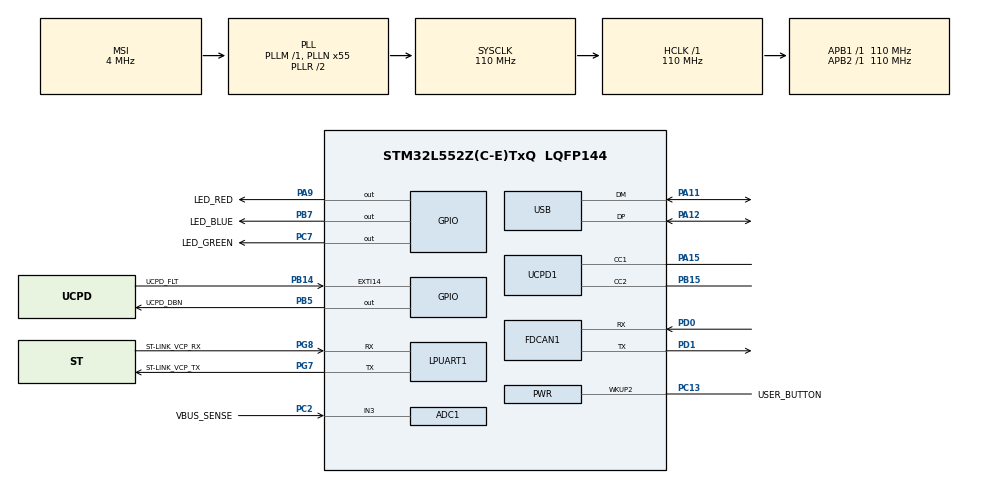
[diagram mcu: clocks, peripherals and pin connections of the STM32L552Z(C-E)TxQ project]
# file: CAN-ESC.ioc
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ADC1.Channel-0\#ChannelRegularConversion=ADC_CHANNEL_3
ADC1.NbrOfConversionFlag=1
ADC1.OffsetNumber-0\#ChannelRegularConversion=ADC_OFFSET_NONE
ADC1.Rank-0\#ChannelRegularConversion=1
ADC1.SamplingTime-0\#ChannelRegularConversion=ADC_SAMPLETIME_2CYCLES_5
ADC1.master=1
FDCAN1.CalculateBaudRateNominal=10000
FDCAN1.CalculateTimeBitNominal=100000
FDCAN1.CalculateTimeQuantumNominal=20000.0
FDCAN1.ClockDivider=FDCAN_CLOCK_DIV22
FDCAN1.DataTimeSeg1=1
FDCAN1.DataTimeSeg2=1
FDCAN1.ExtFiltersNbr=1
FDCAN1.NominalPrescaler=100
FDCAN1.NominalTimeSeg1=2
FDCAN1.NominalTimeSeg2=2
Mcu.Family=STM32L5
Mcu.Name=STM32L552Z(C-E)TxQ
Mcu.Package=LQFP144
Mcu.TrustZone=disable
NVIC.FDCAN1_IT0_IRQn=true\:0\:0\:false\:false\:true\:true\:true\:true
NVIC.PriorityGroup=NVIC_PRIORITYGROUP_3
PA11.Mode=Device
PA11.Signal=USB_DM
PA12.Mode=Device
PA12.Signal=USB_DP
PA13\ (JTMS/SWDIO).Mode=Trace_Asynchronous_SW
PA13\ (JTMS/SWDIO).Signal=DEBUG_JTMS-SWDIO
PA14\ (JTCK/SWCLK).Mode=Trace_Asynchronous_SW
PA14\ (JTCK/SWCLK).Signal=DEBUG_JTCK-SWCLK
PA15\ (JTDI).Mode=Source_AllSignals
PA15\ (JTDI).Signal=UCPD1_CC1
PA9.GPIO_Label=LED_RED
PA9.Signal=GPIO_Output
PB14.GPIO_Label=UCPD_FLT
PB14.Signal=GPXTI14
PB15.Mode=Source_AllSignals
PB15.Signal=UCPD1_CC2
PB3\ (JTDO/TRACESWO).Mode=Trace_Asynchronous_SW
PB3\ (JTDO/TRACESWO).Signal=DEBUG_JTDO-SWO
PB5.GPIO_Label=UCPD_DBN
PB5.Signal=GPIO_Output
PB7.GPIO_Label=LED_BLUE
PB7.Signal=GPIO_Output
PC13.GPIO_Label=USER_BUTTON
PC13.Mode=WakeUp1
PC13.Signal=PWR_WKUP2
PC14-OSC32_IN\ (PC14).Mode=LSE-External-Oscillator
PC14-OSC32_IN\ (PC14).Signal=RCC_OSC32_IN
PC15-OSC32_OUT\ (PC15).Mode=LSE-External-Oscillator
PC15-OSC32_OUT\ (PC15).Signal=RCC_OSC32_OUT
PC2.GPIO_Label=VBUS_SENSE
PC2.Signal=ADCx_IN3
PC7.GPIO_Label=LED_GREEN
PC7.Signal=GPIO_Output
PD0.Mode=FDCAN_Activate
PD0.Signal=FDCAN1_RX
PD1.Mode=FDCAN_Activate
PD1.Signal=FDCAN1_TX
PG7.GPIO_Label=ST-LINK_VCP_TX
PG7.Mode=Asynchronous
PG7.Signal=LPUART1_TX
PG8.GPIO_Label=ST-LINK_VCP_RX
PG8.Mode=Asynchronous
PG8.Signal=LPUART1_RX
ProjectManager.HeapSize=0x200
ProjectManager.StackSize=0x400
ProjectManager.TargetToolchain=STM32CubeIDE
RCC.ADCCLockSelection=RCC_ADCCLKSOURCE_SYSCLK
RCC.ADCFreq_Value=110000000
RCC.AHBFreq_Value=110000000
RCC.APB1Freq_Value=110000000
RCC.APB1TimFreq_Value=110000000
RCC.APB2Freq_Value=110000000
RCC.APB2TimFreq_Value=110000000
RCC.CK48CLockSelection=RCC_USBCLKSOURCE_HSI48
RCC.CortexFreq_Value=110000000
RCC.HCLKFreq_Value=110000000
RCC.HSE_VALUE=8000000
RCC.HSI48_VALUE=48000000
RCC.HSI_VALUE=16000000
RCC.MSI_VALUE=4000000
RCC.PLLN=55
RCC.PLLSAI1N=24
RCC.RTCClockSelection=RCC_RTCCLKSOURCE_LSE
RCC.SYSCLKFreq_VALUE=110000000
RCC.SYSCLKSource=RCC_SYSCLKSOURCE_PLLCLK
RCC.USBFreq_Value=48000000
RCC.VCOOutputFreq_Value=220000000
SH.ADCx_IN3.0=ADC1_IN3,IN3-Single-Ended
VP_ICACHE_VS_ICACHE.Mode=DirectMappedCache
VP_PWR_VS_DBSignals.Mode=DisableDeadBatterySignals
VP_PWR_VS_SECSignals.Mode=Security/Privilege
VP_RTC_VS_RTC_Activate.Mode=RTC_Enabled
board=NUCLEO-L552ZE-Q

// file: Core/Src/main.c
/* USER CODE BEGIN Header */
/**
  ******************************************************************************
  * @file           : main.c
  * @brief          : Main program body
  ******************************************************************************
  * @attention
  *
  * Copyright (c) 2024 STMicroelectronics.
  * All rights reserved.
  *
  * This software is licensed under terms that can be found in the LICENSE file
  * in the root directory of this software component.
  * If no LICENSE file comes with this software, it is provided AS-IS.
  *
  ******************************************************************************
  */
/* USER CODE END Header */
#include "main.h"

/* USER CODE BEGIN Includes */
#include <stdio.h>
#include <string.h>
#include <canard.h>
#include <dronecan_msgs.h>
#include <node_settings.h>
#include <canard_stm32_driver.h>
/* USER CODE END Includes */

ADC_HandleTypeDef hadc1;

FDCAN_HandleTypeDef hfdcan1;

UART_HandleTypeDef hlpuart1;

RTC_HandleTypeDef hrtc;

PCD_HandleTypeDef hpcd_USB_FS;

CanardInstance canard;
uint8_t memory_pool[1024];
static struct uavcan_protocol_NodeStatus node_status;

void SystemClock_Config(void);
static void MX_GPIO_Init(void);
static void MX_ADC1_Init(void);
static void MX_ICACHE_Init(void);
static void MX_LPUART1_UART_Init(void);
static void MX_RTC_Init(void);
static void MX_UCPD1_Init(void);
static void MX_USB_PCD_Init(void);
static void MX_FDCAN1_Init(void);

/* USER CODE BEGIN 0 */

void HAL_FDCAN_RxFifo0Callback(FDCAN_HandleTypeDef *hfdcan, uint32_t RxFifo0ITs) {
	// Receiving
	CanardCANFrame rx_frame;

	const uint64_t timestamp = HAL_GetTick() * 1000ULL;
	const int16_t rx_res = canardSTM32Recieve(hfdcan, FDCAN_RX_FIFO0, &rx_frame);

	if (rx_res < 0) {
		printf("Receive error %d\n", rx_res);
	}
	else if (rx_res > 0)        // Success - process the frame
	{
		canardHandleRxFrame(&canard, &rx_frame, timestamp);
	}
}

// NOTE: All canard handlers and senders are based on this reference: https://dronecan.github.io/Specification/7._List_of_standard_data_types/
// Alternatively, you can look at the corresponding generated header file in the dsdlc_generated folder

// Canard Handlers ( Many have code copied from libcanard esc_node example: https://github.com/dronecan/libcanard/blob/master/examples/ESCNode/esc_node.c )

void handle_NodeStatus(CanardInstance *ins, CanardRxTransfer *transfer) {
	struct uavcan_protocol_NodeStatus nodeStatus;

	if (uavcan_protocol_NodeStatus_decode(transfer, &nodeStatus)) {
		return;
	}

	printf("Node health: %ud Node Mode: %ud\n", nodeStatus.health, nodeStatus.mode);

	printf("Node Health ");

	switch (nodeStatus.health) {
	case UAVCAN_PROTOCOL_NODESTATUS_HEALTH_OK:
		printf("OK\n");
		break;
	case UAVCAN_PROTOCOL_NODESTATUS_HEALTH_WARNING:
		printf("WARNING\n");
		break;
	case UAVCAN_PROTOCOL_NODESTATUS_HEALTH_ERROR:
		printf("ERROR\n");
		break;
	case UAVCAN_PROTOCOL_NODESTATUS_HEALTH_CRITICAL:
		printf("CRITICAL\n");
		break;
	default:
		printf("UNKNOWN?\n");
		break;
	}

	printf("Node Mode ");

	switch(nodeStatus.mode) {
	case UAVCAN_PROTOCOL_NODESTATUS_MODE_OPERATIONAL:
		printf("OPERATIONAL\n");
		break;
	case UAVCAN_PROTOCOL_NODESTATUS_MODE_INITIALIZATION:
		printf("INITIALIZATION\n");
		break;
	case UAVCAN_PROTOCOL_NODESTATUS_MODE_MAINTENANCE:
		printf("MAINTENANCE\n");
		break;
	case UAVCAN_PROTOCOL_NODESTATUS_MODE_SOFTWARE_UPDATE:
		printf("SOFTWARE UPDATE\n");
		break;
	case UAVCAN_PROTOCOL_NODESTATUS_MODE_OFFLINE:
		printf("OFFLINE\n");
		break;
	default:
		printf("UNKNOWN?\n");
		break;
	}
}

void handle_NotifyState(CanardInstance *ins, CanardRxTransfer *transfer) {
	struct ardupilot_indication_NotifyState notifyState;

	if (ardupilot_indication_NotifyState_decode(transfer, &notifyState)) {
		return;
	}

	uint32_t nl = notifyState.vehicle_state & 0xFFFFFFFF;  // ignoring the last 32 bits for printing since the highest vehicle_state value right now is 23 even though they're allowed to be up to 64bit unsigned integer

	printf("Vehicle State: %lu ", nl);

	if (notifyState.aux_data.len > 0) {
		printf("Aux Data: 0x");

		for (int i = 0; i < notifyState.aux_data.len; i++) {
			printf("%02x", notifyState.aux_data.data[i]);
		}
	}

	printf("\n");

}

/*
  handle a ESC RawCommand request
*/
void handle_RawCommand(CanardInstance *ins, CanardRxTransfer *transfer)
{
    struct uavcan_equipment_esc_RawCommand rawCommand;
    if (uavcan_equipment_esc_RawCommand_decode(transfer, &rawCommand)) {
        return;
    }
    // see if it is for us
    if (rawCommand.cmd.len <= ESC_INDEX) {
        return;
    }
    // convert throttle to -1.0 to 1.0 range
//    printf("Throttle: %f \n", rawCommand.cmd.data[ESC_INDEX]/8192.0);
}

/*
  get a 16 byte unique ID for this node, this should be based on the CPU unique ID or other unique ID
 */
void getUniqueID(uint8_t id[16]) {
    uint32_t HALUniqueIDs[3];
    // Make Unique ID out of the 96-bit STM32 UID and fill the rest with 0s
    memset(id, 0, 16);
    HALUniqueIDs[0] = HAL_GetUIDw0();
    HALUniqueIDs[1] = HAL_GetUIDw1();
    HALUniqueIDs[2] = HAL_GetUIDw2();
    memcpy(id, HALUniqueIDs, 12);
}

/*
  handle a GetNodeInfo request
*/
// TODO: All the data in here is temporary for testing. If actually need to send valid data, edit accordingly.
void handle_GetNodeInfo(CanardInstance *ins, CanardRxTransfer *transfer) {
	printf("GetNodeInfo request from %d\n", transfer->source_node_id);

	uint8_t buffer[UAVCAN_PROTOCOL_GETNODEINFO_RESPONSE_MAX_SIZE];
	struct uavcan_protocol_GetNodeInfoResponse pkt;

	memset(&pkt, 0, sizeof(pkt));

	node_status.uptime_sec = HAL_GetTick() / 1000ULL;
	pkt.status = node_status;

	// fill in your major and minor firmware version
	pkt.software_version.major = 1;
	pkt.software_version.minor = 0;
	pkt.software_version.optional_field_flags = 0;
	pkt.software_version.vcs_commit = 0; // should put git hash in here

	// should fill in hardware version
	pkt.hardware_version.major = 1;
	pkt.hardware_version.minor = 0;

	// just setting all 16 bytes to 1 for testing
	getUniqueID(pkt.hardware_version.unique_id);

	strncpy((char*)pkt.name.data, "ESCNode", sizeof(pkt.name.data));
	pkt.name.len = strnlen((char*)pkt.name.data, sizeof(pkt.name.data));

	uint16_t total_size = uavcan_protocol_GetNodeInfoResponse_encode(&pkt, buffer);

	canardRequestOrRespond(ins,
						   transfer->source_node_id,
						   UAVCAN_PROTOCOL_GETNODEINFO_SIGNATURE,
						   UAVCAN_PROTOCOL_GETNODEINFO_ID,
						   &transfer->transfer_id,
						   transfer->priority,
						   CanardResponse,
						   &buffer[0],
						   total_size);
}

// Canard Senders

/*
  send the 1Hz NodeStatus message. This is what allows a node to show
  up in the DroneCAN GUI tool and in the flight controller logs
 */
void send_NodeStatus(void) {
    uint8_t buffer[UAVCAN_PROTOCOL_GETNODEINFO_RESPONSE_MAX_SIZE];

    node_status.uptime_sec = HAL_GetTick() / 1000UL;
    node_status.health = UAVCAN_PROTOCOL_NODESTATUS_HEALTH_OK;
    node_status.mode = UAVCAN_PROTOCOL_NODESTATUS_MODE_OPERATIONAL;
    node_status.sub_mode = 0;

    // put whatever you like in here for display in GUI
    node_status.vendor_specific_status_code = 1234;

    uint32_t len = uavcan_protocol_NodeStatus_encode(&node_status, buffer);

    // we need a static variable for the transfer ID. This is
    // incremeneted on each transfer, allowing for detection of packet
    // loss
    static uint8_t transfer_id;

    canardBroadcast(&canard,
                    UAVCAN_PROTOCOL_NODESTATUS_SIGNATURE,
                    UAVCAN_PROTOCOL_NODESTATUS_ID,
                    &transfer_id,
                    CANARD_TRANSFER_PRIORITY_LOW,
                    buffer,
                    len);
}

// Canard Util

bool shouldAcceptTransfer(const CanardInstance *ins,
                                 uint64_t *out_data_type_signature,
                                 uint16_t data_type_id,
                                 CanardTransferType transfer_type,
                                 uint8_t source_node_id)
{
	if (transfer_type == CanardTransferTypeRequest) {
	// check if we want to handle a specific service request
		switch (data_type_id) {
		case UAVCAN_PROTOCOL_GETNODEINFO_ID: {
			*out_data_type_signature = UAVCAN_PROTOCOL_GETNODEINFO_REQUEST_SIGNATURE;
			return true;
		}
		}
	}
	if (transfer_type == CanardTransferTypeResponse) {
		// check if we want to handle a specific service request
		switch (data_type_id) {
		}
	}
	if (transfer_type == CanardTransferTypeBroadcast) {
		// see if we want to handle a specific broadcast packet
		switch (data_type_id) {
		case UAVCAN_EQUIPMENT_ESC_RAWCOMMAND_ID: {
			*out_data_type_signature = UAVCAN_EQUIPMENT_ESC_RAWCOMMAND_SIGNATURE;
			return true;
		}
		case UAVCAN_PROTOCOL_NODESTATUS_ID: {
			*out_data_type_signature = UAVCAN_PROTOCOL_NODESTATUS_SIGNATURE;
			return true;
		}
		case ARDUPILOT_INDICATION_NOTIFYSTATE_ID: {
			*out_data_type_signature = ARDUPILOT_INDICATION_NOTIFYSTATE_SIGNATURE;
			return true;
		}
		}
	}
	// we don't want any other messages
	return false;
}

void onTransferReceived(CanardInstance *ins, CanardRxTransfer *transfer) {
	// switch on data type ID to pass to the right handler function
//	printf("Transfer type: %du, Transfer ID: %du \n", transfer->transfer_type, transfer->data_type_id);
//	printf("0x");
//		for (int i = 0; i < transfer->payload_len; i++) {
//			printf("%02x", transfer->payload_head[i]);
//		}
//
//		printf("\n");
	if (transfer->transfer_type == CanardTransferTypeRequest) {
		// check if we want to handle a specific service request
		switch (transfer->data_type_id) {
		case UAVCAN_PROTOCOL_GETNODEINFO_ID: {
			handle_GetNodeInfo(ins, transfer);
			break;
		}
		}
	}
	if (transfer->transfer_type == CanardTransferTypeResponse) {
		switch (transfer->data_type_id) {
		}
	}
	if (transfer->transfer_type == CanardTransferTypeBroadcast) {
		// check if we want to handle a specific broadcast message
		switch (transfer->data_type_id) {
		case UAVCAN_EQUIPMENT_ESC_RAWCOMMAND_ID: {
			handle_RawCommand(ins, transfer);
			break;
		}
		case UAVCAN_PROTOCOL_NODESTATUS_ID: {
			handle_NodeStatus(ins, transfer);
			break;
		}
		case ARDUPILOT_INDICATION_NOTIFYSTATE_ID: {
			handle_NotifyState(ins, transfer);
			break;
		}
		}
	}
}

void processCanardTxQueue(FDCAN_HandleTypeDef *hfdcan) {
	// Transmitting

	for (const CanardCANFrame *tx_frame ; (tx_frame = canardPeekTxQueue(&canard)) != NULL;) {
		const int16_t tx_res = canardSTM32Transmit(hfdcan, tx_frame);

		if (tx_res < 0) {
			printf("Transmit error %d\n", tx_res);
		} else if (tx_res > 0) {
			printf("Successfully transmitted message\n");
		}

		// Pop canardTxQueue either way
		canardPopTxQueue(&canard);
	}
}

/*
  This function is called at 1 Hz rate from the main loop.
*/
void process1HzTasks(uint64_t timestamp_usec) {
    /*
      Purge transfers that are no longer transmitted. This can free up some memory
    */
    canardCleanupStaleTransfers(&canard, timestamp_usec);

    /*
      Transmit the node status message
    */
    send_NodeStatus();
}

/* USER CODE END 0 */

int main(void)
{

  /* MCU Configuration--------------------------------------------------------*/

  /* Reset of all peripherals, Initializes the Flash interface and the Systick. */
  HAL_Init();

  /* Configure the system clock */
  SystemClock_Config();

  /* Initialize all configured peripherals */
  MX_GPIO_Init();
  MX_ADC1_Init();
  MX_ICACHE_Init();
  MX_LPUART1_UART_Init();
  MX_RTC_Init();
  MX_UCPD1_Init();
  MX_USB_PCD_Init();
  MX_FDCAN1_Init();
  /* USER CODE BEGIN 2 */

  /*
   Initializing the Libcanard instance.
   */
  canardInit(&canard,
			 memory_pool,
			 sizeof(memory_pool),
			 onTransferReceived,
			 shouldAcceptTransfer,
			 NULL);

  uint64_t next_1hz_service_at = HAL_GetTick();
//  uint64_t next_50hz_service_at = HAL_GetTick();

  // Could use DNA (Dynamic Node Allocation) by following example in esc_node.c but that requires a lot of setup and I'm not too sure of what advantage it brings
  // Instead, set a different NODE_ID for each device on the CAN bus by configuring node_settings
  if (NODE_ID > 0) {
	  canardSetLocalNodeID(&canard, NODE_ID);
  } else {
	  printf("Node ID is 0, this node is anonymous and can't transmit most messaged. Please update this in node_settings.h\n");
  }

  /* USER CODE END 2 */

  /* Infinite loop */
  while (1)
  {

    /* USER CODE BEGIN 3 */
	processCanardTxQueue(&hfdcan1);

	const uint64_t ts = HAL_GetTick();

	if (ts >= next_1hz_service_at) {
		next_1hz_service_at += 1000ULL;
		process1HzTasks(ts);
	}
//	if (ts >= next_50hz_service_at) {
//		next_50hz_service_at += 1000000ULL/50U;
//		send_ESCStatus();
//	}

  }
  /* USER CODE END 3 */
}

void SystemClock_Config(void)
{
  RCC_OscInitTypeDef RCC_OscInitStruct = {0};
  RCC_ClkInitTypeDef RCC_ClkInitStruct = {0};

  /** Configure the main internal regulator output voltage
  */
  if (HAL_PWREx_ControlVoltageScaling(PWR_REGULATOR_VOLTAGE_SCALE0) != HAL_OK)
  {
    Error_Handler();
  }

  /** Configure LSE Drive Capability
  */
  HAL_PWR_EnableBkUpAccess();
  __HAL_RCC_LSEDRIVE_CONFIG(RCC_LSEDRIVE_LOW);

  /** Initializes the RCC Oscillators according to the specified parameters
  * in the RCC_OscInitTypeDef structure.
  */
  RCC_OscInitStruct.OscillatorType = RCC_OSCILLATORTYPE_HSI48|RCC_OSCILLATORTYPE_HSI
                              |RCC_OSCILLATORTYPE_LSE|RCC_OSCILLATORTYPE_MSI;
  RCC_OscInitStruct.LSEState = RCC_LSE_ON;
  RCC_OscInitStruct.HSIState = RCC_HSI_ON;
  RCC_OscInitStruct.HSI48State = RCC_HSI48_ON;
  RCC_OscInitStruct.HSICalibrationValue = RCC_HSICALIBRATION_DEFAULT;
  RCC_OscInitStruct.MSIState = RCC_MSI_ON;
  RCC_OscInitStruct.MSICalibrationValue = RCC_MSICALIBRATION_DEFAULT;
  RCC_OscInitStruct.MSIClockRange = RCC_MSIRANGE_6;
  RCC_OscInitStruct.PLL.PLLState = RCC_PLL_ON;
  RCC_OscInitStruct.PLL.PLLSource = RCC_PLLSOURCE_MSI;
  RCC_OscInitStruct.PLL.PLLM = 1;
  RCC_OscInitStruct.PLL.PLLN = 55;
  RCC_OscInitStruct.PLL.PLLP = RCC_PLLP_DIV7;
  RCC_OscInitStruct.PLL.PLLQ = RCC_PLLQ_DIV2;
  RCC_OscInitStruct.PLL.PLLR = RCC_PLLR_DIV2;
  if (HAL_RCC_OscConfig(&RCC_OscInitStruct) != HAL_OK)
  {
    Error_Handler();
  }

  /** Initializes the CPU, AHB and APB buses clocks
  */
  RCC_ClkInitStruct.ClockType = RCC_CLOCKTYPE_HCLK|RCC_CLOCKTYPE_SYSCLK
                              |RCC_CLOCKTYPE_PCLK1|RCC_CLOCKTYPE_PCLK2;
  RCC_ClkInitStruct.SYSCLKSource = RCC_SYSCLKSOURCE_PLLCLK;
  RCC_ClkInitStruct.AHBCLKDivider = RCC_SYSCLK_DIV1;
  RCC_ClkInitStruct.APB1CLKDivider = RCC_HCLK_DIV1;
  RCC_ClkInitStruct.APB2CLKDivider = RCC_HCLK_DIV1;

  if (HAL_RCC_ClockConfig(&RCC_ClkInitStruct, FLASH_LATENCY_5) != HAL_OK)
  {
    Error_Handler();
  }
}

static void MX_ADC1_Init(void)
{

  ADC_MultiModeTypeDef multimode = {0};
  ADC_ChannelConfTypeDef sConfig = {0};

  /** Common config
  */
  hadc1.Instance = ADC1;
  hadc1.Init.ClockPrescaler = ADC_CLOCK_ASYNC_DIV1;
  hadc1.Init.Resolution = ADC_RESOLUTION_12B;
  hadc1.Init.DataAlign = ADC_DATAALIGN_RIGHT;
  hadc1.Init.ScanConvMode = ADC_SCAN_DISABLE;
  hadc1.Init.EOCSelection = ADC_EOC_SINGLE_CONV;
  hadc1.Init.LowPowerAutoWait = DISABLE;
  hadc1.Init.ContinuousConvMode = DISABLE;
  hadc1.Init.NbrOfConversion = 1;
  hadc1.Init.DiscontinuousConvMode = DISABLE;
  hadc1.Init.ExternalTrigConv = ADC_SOFTWARE_START;
  hadc1.Init.ExternalTrigConvEdge = ADC_EXTERNALTRIGCONVEDGE_NONE;
  hadc1.Init.DMAContinuousRequests = DISABLE;
  hadc1.Init.Overrun = ADC_OVR_DATA_PRESERVED;
  hadc1.Init.OversamplingMode = DISABLE;
  if (HAL_ADC_Init(&hadc1) != HAL_OK)
  {
    Error_Handler();
  }

  /** Configure the ADC multi-mode
  */
  multimode.Mode = ADC_MODE_INDEPENDENT;
  if (HAL_ADCEx_MultiModeConfigChannel(&hadc1, &multimode) != HAL_OK)
  {
    Error_Handler();
  }

  /** Configure Regular Channel
  */
  sConfig.Channel = ADC_CHANNEL_3;
  sConfig.Rank = ADC_REGULAR_RANK_1;
  sConfig.SamplingTime = ADC_SAMPLETIME_2CYCLES_5;
  sConfig.SingleDiff = ADC_SINGLE_ENDED;
  sConfig.OffsetNumber = ADC_OFFSET_NONE;
  sConfig.Offset = 0;
  if (HAL_ADC_ConfigChannel(&hadc1, &sConfig) != HAL_OK)
  {
    Error_Handler();
  }

}

static void MX_FDCAN1_Init(void)
{

  /* USER CODE BEGIN FDCAN1_Init 1 */
  FDCAN_FilterTypeDef sFilterConfig;
  sFilterConfig.IdType = FDCAN_EXTENDED_ID;
  sFilterConfig.FilterIndex = 0;
  sFilterConfig.FilterType = FDCAN_FILTER_MASK;
  sFilterConfig.FilterConfig = FDCAN_FILTER_TO_RXFIFO0;
  sFilterConfig.FilterID1 = 0x01;
  sFilterConfig.FilterID2 = 0x0;
  /* USER CODE END FDCAN1_Init 1 */
  hfdcan1.Instance = FDCAN1;
  hfdcan1.Init.ClockDivider = FDCAN_CLOCK_DIV22;
  hfdcan1.Init.FrameFormat = FDCAN_FRAME_CLASSIC;
  hfdcan1.Init.Mode = FDCAN_MODE_NORMAL;
  hfdcan1.Init.AutoRetransmission = DISABLE;
  hfdcan1.Init.TransmitPause = DISABLE;
  hfdcan1.Init.ProtocolException = DISABLE;
  hfdcan1.Init.NominalPrescaler = 100;
  hfdcan1.Init.NominalSyncJumpWidth = 1;
  hfdcan1.Init.NominalTimeSeg1 = 2;
  hfdcan1.Init.NominalTimeSeg2 = 2;
  hfdcan1.Init.DataPrescaler = 1;
  hfdcan1.Init.DataSyncJumpWidth = 1;
  hfdcan1.Init.DataTimeSeg1 = 1;
  hfdcan1.Init.DataTimeSeg2 = 1;
  hfdcan1.Init.StdFiltersNbr = 0;
  hfdcan1.Init.ExtFiltersNbr = 1;
  hfdcan1.Init.TxFifoQueueMode = FDCAN_TX_FIFO_OPERATION;
  if (HAL_FDCAN_Init(&hfdcan1) != HAL_OK)
  {
    Error_Handler();
  }
  /* USER CODE BEGIN FDCAN1_Init 2 */
  if (HAL_FDCAN_ActivateNotification(&hfdcan1, FDCAN_IT_RX_FIFO0_NEW_MESSAGE, 0) != HAL_OK) {
	printf("1");
	Error_Handler();
  }
  if (HAL_FDCAN_ConfigFilter(&hfdcan1, &sFilterConfig) != HAL_OK) {
    printf("2");
    Error_Handler();
  }
  if (HAL_FDCAN_Start(&hfdcan1) != HAL_OK) {
    printf("3");
    Error_Handler();
  }

  /* USER CODE END FDCAN1_Init 2 */

}

static void MX_ICACHE_Init(void)
{

  /** Enable instruction cache in 1-way (direct mapped cache)
  */
  if (HAL_ICACHE_ConfigAssociativityMode(ICACHE_1WAY) != HAL_OK)
  {
    Error_Handler();
  }
  if (HAL_ICACHE_Enable() != HAL_OK)
  {
    Error_Handler();
  }

}

static void MX_LPUART1_UART_Init(void)
{

  hlpuart1.Instance = LPUART1;
  hlpuart1.Init.BaudRate = 209700;
  hlpuart1.Init.WordLength = UART_WORDLENGTH_8B;
  hlpuart1.Init.StopBits = UART_STOPBITS_1;
  hlpuart1.Init.Parity = UART_PARITY_NONE;
  hlpuart1.Init.Mode = UART_MODE_TX_RX;
  hlpuart1.Init.HwFlowCtl = UART_HWCONTROL_NONE;
  hlpuart1.Init.OneBitSampling = UART_ONE_BIT_SAMPLE_DISABLE;
  hlpuart1.Init.ClockPrescaler = UART_PRESCALER_DIV1;
  hlpuart1.AdvancedInit.AdvFeatureInit = UART_ADVFEATURE_NO_INIT;
  hlpuart1.FifoMode = UART_FIFOMODE_DISABLE;
  if (HAL_UART_Init(&hlpuart1) != HAL_OK)
  {
    Error_Handler();
  }
  if (HAL_UARTEx_SetTxFifoThreshold(&hlpuart1, UART_TXFIFO_THRESHOLD_1_8) != HAL_OK)
  {
    Error_Handler();
  }
  if (HAL_UARTEx_SetRxFifoThreshold(&hlpuart1, UART_RXFIFO_THRESHOLD_1_8) != HAL_OK)
  {
    Error_Handler();
  }
  if (HAL_UARTEx_DisableFifoMode(&hlpuart1) != HAL_OK)
  {
    Error_Handler();
  }

}

static void MX_RTC_Init(void)
{

  RTC_PrivilegeStateTypeDef privilegeState = {0};

  /** Initialize RTC Only
  */
  hrtc.Instance = RTC;
  hrtc.Init.HourFormat = RTC_HOURFORMAT_24;
  hrtc.Init.AsynchPrediv = 127;
  hrtc.Init.SynchPrediv = 255;
  hrtc.Init.OutPut = RTC_OUTPUT_DISABLE;
  hrtc.Init.OutPutRemap = RTC_OUTPUT_REMAP_NONE;
  hrtc.Init.OutPutPolarity = RTC_OUTPUT_POLARITY_HIGH;
  hrtc.Init.OutPutType = RTC_OUTPUT_TYPE_OPENDRAIN;
  hrtc.Init.OutPutPullUp = RTC_OUTPUT_PULLUP_NONE;
  if (HAL_RTC_Init(&hrtc) != HAL_OK)
  {
    Error_Handler();
  }
  privilegeState.rtcPrivilegeFull = RTC_PRIVILEGE_FULL_NO;
  privilegeState.backupRegisterPrivZone = RTC_PRIVILEGE_BKUP_ZONE_NONE;
  privilegeState.backupRegisterStartZone2 = RTC_BKP_DR0;
  privilegeState.backupRegisterStartZone3 = RTC_BKP_DR0;
  if (HAL_RTCEx_PrivilegeModeSet(&hrtc, &privilegeState) != HAL_OK)
  {
    Error_Handler();
  }

}

static void MX_UCPD1_Init(void)
{

  LL_GPIO_InitTypeDef GPIO_InitStruct = {0};

  /* Peripheral clock enable */
  LL_APB1_GRP2_EnableClock(LL_APB1_GRP2_PERIPH_UCPD1);

  LL_AHB2_GRP1_EnableClock(LL_AHB2_GRP1_PERIPH_GPIOB);
  LL_AHB2_GRP1_EnableClock(LL_AHB2_GRP1_PERIPH_GPIOA);
  /**UCPD1 GPIO Configuration
  PB15   ------> UCPD1_CC2
  PA15 (JTDI)   ------> UCPD1_CC1
  */
  GPIO_InitStruct.Pin = LL_GPIO_PIN_15;
  GPIO_InitStruct.Mode = LL_GPIO_MODE_ANALOG;
  GPIO_InitStruct.Pull = LL_GPIO_PULL_NO;
  LL_GPIO_Init(GPIOB, &GPIO_InitStruct);

  GPIO_InitStruct.Pin = LL_GPIO_PIN_15;
  GPIO_InitStruct.Mode = LL_GPIO_MODE_ANALOG;
  GPIO_InitStruct.Pull = LL_GPIO_PULL_NO;
  LL_GPIO_Init(GPIOA, &GPIO_InitStruct);

}

static void MX_USB_PCD_Init(void)
{

  hpcd_USB_FS.Instance = USB;
  hpcd_USB_FS.Init.dev_endpoints = 8;
  hpcd_USB_FS.Init.speed = PCD_SPEED_FULL;
  hpcd_USB_FS.Init.phy_itface = PCD_PHY_EMBEDDED;
  hpcd_USB_FS.Init.Sof_enable = DISABLE;
  hpcd_USB_FS.Init.low_power_enable = DISABLE;
  hpcd_USB_FS.Init.lpm_enable = DISABLE;
  hpcd_USB_FS.Init.battery_charging_enable = DISABLE;
  if (HAL_PCD_Init(&hpcd_USB_FS) != HAL_OK)
  {
    Error_Handler();
  }

}

static void MX_GPIO_Init(void)
{
  GPIO_InitTypeDef GPIO_InitStruct = {0};

  /* GPIO Ports Clock Enable */
  __HAL_RCC_GPIOC_CLK_ENABLE();
  __HAL_RCC_GPIOB_CLK_ENABLE();
  __HAL_RCC_GPIOG_CLK_ENABLE();
  HAL_PWREx_EnableVddIO2();
  __HAL_RCC_GPIOA_CLK_ENABLE();
  __HAL_RCC_GPIOD_CLK_ENABLE();

  /*Configure GPIO pin Output Level */
  HAL_GPIO_WritePin(LED_GREEN_GPIO_Port, LED_GREEN_Pin, GPIO_PIN_RESET);

  /*Configure GPIO pin Output Level */
  HAL_GPIO_WritePin(LED_RED_GPIO_Port, LED_RED_Pin, GPIO_PIN_RESET);

  /*Configure GPIO pin Output Level */
  HAL_GPIO_WritePin(GPIOB, UCPD_DBN_Pin|LED_BLUE_Pin, GPIO_PIN_RESET);

  /*Configure GPIO pin : UCPD_FLT_Pin */
  GPIO_InitStruct.Pin = UCPD_FLT_Pin;
  GPIO_InitStruct.Mode = GPIO_MODE_IT_RISING;
  GPIO_InitStruct.Pull = GPIO_NOPULL;
  HAL_GPIO_Init(UCPD_FLT_GPIO_Port, &GPIO_InitStruct);

  /*Configure GPIO pin : LED_GREEN_Pin */
  GPIO_InitStruct.Pin = LED_GREEN_Pin;
  GPIO_InitStruct.Mode = GPIO_MODE_OUTPUT_PP;
  GPIO_InitStruct.Pull = GPIO_NOPULL;
  GPIO_InitStruct.Speed = GPIO_SPEED_FREQ_LOW;
  HAL_GPIO_Init(LED_GREEN_GPIO_Port, &GPIO_InitStruct);

  /*Configure GPIO pin : LED_RED_Pin */
  GPIO_InitStruct.Pin = LED_RED_Pin;
  GPIO_InitStruct.Mode = GPIO_MODE_OUTPUT_PP;
  GPIO_InitStruct.Pull = GPIO_NOPULL;
  GPIO_InitStruct.Speed = GPIO_SPEED_FREQ_LOW;
  HAL_GPIO_Init(LED_RED_GPIO_Port, &GPIO_InitStruct);

  /*Configure GPIO pins : UCPD_DBN_Pin LED_BLUE_Pin */
  GPIO_InitStruct.Pin = UCPD_DBN_Pin|LED_BLUE_Pin;
  GPIO_InitStruct.Mode = GPIO_MODE_OUTPUT_PP;
  GPIO_InitStruct.Pull = GPIO_NOPULL;
  GPIO_InitStruct.Speed = GPIO_SPEED_FREQ_LOW;
  HAL_GPIO_Init(GPIOB, &GPIO_InitStruct);

}

/* USER CODE BEGIN 4 */
int __io_putchar(int ch)
{
	return ITM_SendChar(ch);
}
/* USER CODE END 4 */

void Error_Handler(void)
{
  __disable_irq();
  while (1)
  {
  }
}
